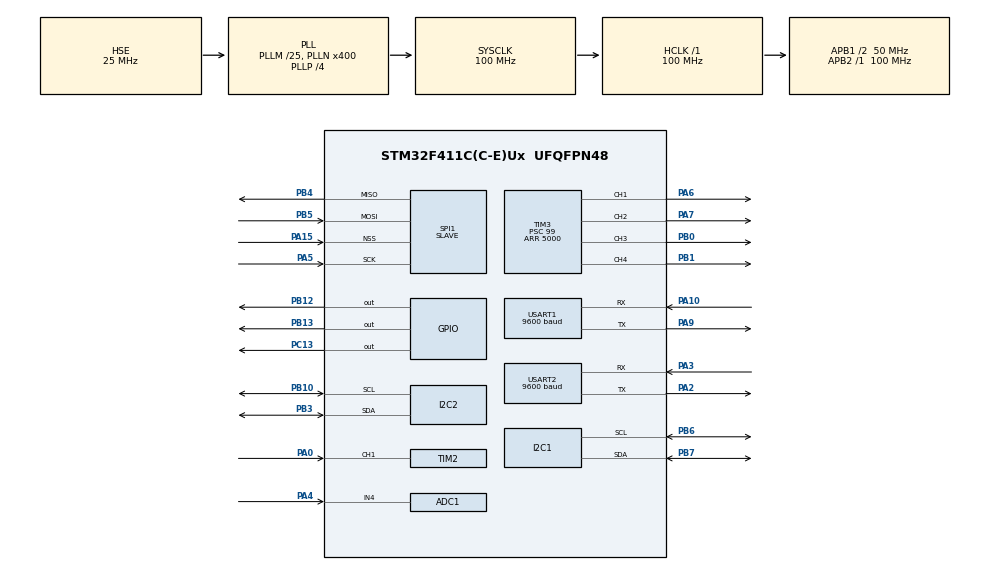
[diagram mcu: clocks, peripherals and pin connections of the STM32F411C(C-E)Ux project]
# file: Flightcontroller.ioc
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ADC1.Channel-0\#ChannelRegularConversion=ADC_CHANNEL_4
ADC1.NbrOfConversionFlag=1
ADC1.Rank-0\#ChannelRegularConversion=1
ADC1.SamplingTime-0\#ChannelRegularConversion=ADC_SAMPLETIME_3CYCLES
ADC1.master=1
Dma.Request0=USART2_RX
Dma.Request1=USART1_TX
Dma.Request2=SPI1_RX
Dma.Request3=SPI1_TX
Dma.SPI1_RX.2.Direction=DMA_PERIPH_TO_MEMORY
Dma.SPI1_RX.2.FIFOMode=DMA_FIFOMODE_DISABLE
Dma.SPI1_RX.2.Instance=DMA2_Stream0
Dma.SPI1_RX.2.MemDataAlignment=DMA_MDATAALIGN_BYTE
Dma.SPI1_RX.2.MemInc=DMA_MINC_ENABLE
Dma.SPI1_RX.2.Mode=DMA_CIRCULAR
Dma.SPI1_RX.2.PeriphDataAlignment=DMA_PDATAALIGN_BYTE
Dma.SPI1_RX.2.PeriphInc=DMA_PINC_DISABLE
Dma.SPI1_RX.2.Priority=DMA_PRIORITY_LOW
Dma.SPI1_TX.3.Direction=DMA_MEMORY_TO_PERIPH
Dma.SPI1_TX.3.FIFOMode=DMA_FIFOMODE_DISABLE
Dma.SPI1_TX.3.Instance=DMA2_Stream2
Dma.SPI1_TX.3.MemDataAlignment=DMA_MDATAALIGN_BYTE
Dma.SPI1_TX.3.MemInc=DMA_MINC_ENABLE
Dma.SPI1_TX.3.Mode=DMA_CIRCULAR
Dma.SPI1_TX.3.PeriphDataAlignment=DMA_PDATAALIGN_BYTE
Dma.SPI1_TX.3.PeriphInc=DMA_PINC_DISABLE
Dma.SPI1_TX.3.Priority=DMA_PRIORITY_LOW
Dma.USART1_TX.1.Direction=DMA_MEMORY_TO_PERIPH
Dma.USART1_TX.1.FIFOMode=DMA_FIFOMODE_DISABLE
Dma.USART1_TX.1.Instance=DMA2_Stream7
Dma.USART1_TX.1.MemDataAlignment=DMA_MDATAALIGN_BYTE
Dma.USART1_TX.1.MemInc=DMA_MINC_ENABLE
Dma.USART1_TX.1.Mode=DMA_CIRCULAR
Dma.USART1_TX.1.PeriphDataAlignment=DMA_PDATAALIGN_BYTE
Dma.USART1_TX.1.PeriphInc=DMA_PINC_DISABLE
Dma.USART1_TX.1.Priority=DMA_PRIORITY_LOW
Dma.USART2_RX.0.Direction=DMA_PERIPH_TO_MEMORY
Dma.USART2_RX.0.FIFOMode=DMA_FIFOMODE_DISABLE
Dma.USART2_RX.0.Instance=DMA1_Stream5
Dma.USART2_RX.0.MemDataAlignment=DMA_MDATAALIGN_BYTE
Dma.USART2_RX.0.MemInc=DMA_MINC_ENABLE
Dma.USART2_RX.0.Mode=DMA_CIRCULAR
Dma.USART2_RX.0.PeriphDataAlignment=DMA_PDATAALIGN_BYTE
Dma.USART2_RX.0.PeriphInc=DMA_PINC_DISABLE
Dma.USART2_RX.0.Priority=DMA_PRIORITY_LOW
I2C2.I2C_Mode=I2C_Fast
Mcu.Family=STM32F4
Mcu.Name=STM32F411C(C-E)Ux
Mcu.Package=UFQFPN48
NVIC.ADC_IRQn=true\:3\:0\:true\:false\:true\:true\:true
NVIC.DMA1_Stream5_IRQn=true\:2\:0\:true\:false\:true\:false\:true
NVIC.DMA2_Stream0_IRQn=true\:2\:0\:true\:false\:true\:false\:true
NVIC.DMA2_Stream2_IRQn=true\:2\:0\:true\:false\:true\:false\:true
NVIC.DMA2_Stream7_IRQn=true\:2\:0\:true\:false\:true\:false\:true
NVIC.I2C2_EV_IRQn=true\:0\:0\:false\:false\:true\:true\:true
NVIC.PriorityGroup=NVIC_PRIORITYGROUP_4
NVIC.TIM2_IRQn=true\:2\:0\:true\:false\:true\:true\:true
NVIC.USART1_IRQn=true\:2\:0\:true\:false\:true\:true\:true
PA0-WKUP.Signal=S_TIM2_CH1_ETR
PA10.Mode=Asynchronous
PA10.Signal=USART1_RX
PA13.Mode=Serial_Wire
PA13.Signal=SYS_JTMS-SWDIO
PA14.Mode=Serial_Wire
PA14.Signal=SYS_JTCK-SWCLK
PA15.Mode=NSS_Signal_Hard_Input
PA15.Signal=SPI1_NSS
PA2.Mode=Asynchronous
PA2.Signal=USART2_TX
PA3.Mode=Asynchronous
PA3.Signal=USART2_RX
PA4.Signal=ADCx_IN4
PA5.Mode=Full_Duplex_Slave
PA5.Signal=SPI1_SCK
PA6.Signal=S_TIM3_CH1
PA7.Signal=S_TIM3_CH2
PA9.Mode=Asynchronous
PA9.Signal=USART1_TX
PB0.Signal=S_TIM3_CH3
PB1.Signal=S_TIM3_CH4
PB10.Mode=I2C
PB10.Signal=I2C2_SCL
PB12.Signal=GPIO_Output
PB13.Signal=GPIO_Output
PB3.Mode=I2C
PB3.Signal=I2C2_SDA
PB4.Mode=Full_Duplex_Slave
PB4.Signal=SPI1_MISO
PB5.Mode=Full_Duplex_Slave
PB5.Signal=SPI1_MOSI
PB6.Mode=I2C
PB6.Signal=I2C1_SCL
PB7.Mode=I2C
PB7.Signal=I2C1_SDA
PC13-ANTI_TAMP.Signal=GPIO_Output
PH0\ -\ OSC_IN.Mode=HSE-External-Oscillator
PH0\ -\ OSC_IN.Signal=RCC_OSC_IN
PH1\ -\ OSC_OUT.Mode=HSE-External-Oscillator
PH1\ -\ OSC_OUT.Signal=RCC_OSC_OUT
ProjectManager.HeapSize=0x200
ProjectManager.StackSize=0x400
ProjectManager.TargetToolchain=Other Toolchains (GPDSC)
RCC.48MHZClocksFreq_Value=100000000
RCC.AHBFreq_Value=100000000
RCC.APB1CLKDivider=RCC_HCLK_DIV2
RCC.APB1Freq_Value=50000000
RCC.APB1TimFreq_Value=100000000
RCC.APB2Freq_Value=100000000
RCC.APB2TimFreq_Value=100000000
RCC.CortexFreq_Value=100000000
RCC.HCLKFreq_Value=100000000
RCC.HSE_VALUE=25000000
RCC.HSI_VALUE=16000000
RCC.LSE_VALUE=32768
RCC.PLLM=25
RCC.PLLN=400
RCC.PLLP=RCC_PLLP_DIV4
RCC.PLLSourceVirtual=RCC_PLLSOURCE_HSE
RCC.SYSCLKFreq_VALUE=100000000
RCC.SYSCLKSource=RCC_SYSCLKSOURCE_PLLCLK
RCC.VCOOutputFreq_Value=400000000
SH.ADCx_IN4.0=ADC1_IN4,IN4
SH.S_TIM2_CH1_ETR.0=TIM2_CH1,Input_Capture1_from_TI1
SH.S_TIM3_CH1.0=TIM3_CH1,PWM Generation1 CH1
SH.S_TIM3_CH2.0=TIM3_CH2,PWM Generation2 CH2
SH.S_TIM3_CH3.0=TIM3_CH3,PWM Generation3 CH3
SH.S_TIM3_CH4.0=TIM3_CH4,PWM Generation4 CH4
SPI1.Direction=SPI_DIRECTION_2LINES
SPI1.Mode=SPI_MODE_SLAVE
SPI1.VirtualNSS=VM_NSSHARD
SPI1.VirtualType=VM_SLAVE
TIM2.Channel-Input_Capture1_from_TI1=TIM_CHANNEL_1
TIM2.ClockDivision=TIM_CLOCKDIVISION_DIV1
TIM2.ICPrescaler-Input_Capture1_from_TI1=TIM_ICPSC_DIV1
TIM2.Period=0xFFFFFFFF
TIM2.Prescaler=99
TIM3.Channel-PWM\ Generation1\ CH1=TIM_CHANNEL_1
TIM3.Channel-PWM\ Generation2\ CH2=TIM_CHANNEL_2
TIM3.Channel-PWM\ Generation3\ CH3=TIM_CHANNEL_3
TIM3.Channel-PWM\ Generation4\ CH4=TIM_CHANNEL_4
TIM3.Period=5000
TIM3.Prescaler=99
TIM3.Pulse-PWM\ Generation1\ CH1=1000
USART1.BaudRate=9600
USART1.VirtualMode=VM_ASYNC
USART2.BaudRate=9600
USART2.VirtualMode=VM_ASYNC
VP_TIM2_VS_ClockSourceINT.Mode=Internal
board=custom

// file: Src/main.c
/* USER CODE BEGIN Header */
/**
  ******************************************************************************
  * @file           : main.c
  * @brief          : Main program body
  ******************************************************************************
  * @attention
  *
  * <h2><center>&copy; Copyright (c) 2020 STMicroelectronics.
  * All rights reserved.</center></h2>
  *
  * This software component is licensed by ST under BSD 3-Clause license,
  * the "License"; You may not use this file except in compliance with the
  * License. You may obtain a copy of the License at:
  *                        opensource.org/licenses/BSD-3-Clause
  *
  ******************************************************************************
  */
/* USER CODE END Header */

#include "main.h"

/* USER CODE BEGIN Includes */
#include "imu.h"
#include "baro.h"
#include "statemachine.h"
#include "receiver.h"
#include "motors.h"
#include "send_info.h"
#include "adc.h"
#include "gps.h"
#include "spi_pi.h"
/* USER CODE END Includes */

ADC_HandleTypeDef hadc1;

I2C_HandleTypeDef hi2c1;
I2C_HandleTypeDef hi2c2;

SPI_HandleTypeDef hspi1;
DMA_HandleTypeDef hdma_spi1_rx;
DMA_HandleTypeDef hdma_spi1_tx;

TIM_HandleTypeDef htim2;
TIM_HandleTypeDef htim3;

UART_HandleTypeDef huart1;
UART_HandleTypeDef huart2;
DMA_HandleTypeDef hdma_usart1_tx;
DMA_HandleTypeDef hdma_usart2_rx;

void SystemClock_Config(void);
static void MX_GPIO_Init(void);
static void MX_I2C2_Init(void);
static void MX_TIM2_Init(void);
static void MX_TIM3_Init(void);
static void MX_USART1_UART_Init(void);
static void MX_I2C1_Init(void);
static void MX_ADC1_Init(void);
static void MX_DMA_Init(void);
static void MX_USART2_UART_Init(void);
static void MX_SPI1_Init(void);
/* USER CODE BEGIN PFP */
void SystemClockHSI_Config(void);
/* USER CODE END PFP */

int main(void)
{

  /* MCU Configuration--------------------------------------------------------*/

  /* Reset of all peripherals, Initializes the Flash interface and the Systick. */
  HAL_Init();

  /* USER CODE BEGIN Init */
	//Configuring 16Mhz HSI to System clock. Allows changing of PLL in SytemClock_Config();
	SystemClockHSI_Config();
  /* USER CODE END Init */

  /* Configure the system clock */
  SystemClock_Config();

  /* Initialize all configured peripherals */
  MX_GPIO_Init();
  MX_I2C2_Init();
  MX_TIM2_Init();
  MX_TIM3_Init();
  //MX_USART1_UART_Init();
  MX_I2C1_Init();
  MX_ADC1_Init();
  MX_DMA_Init();
  MX_USART2_UART_Init();
  MX_SPI1_Init();
  /* USER CODE BEGIN 2 */
	MX_USART1_UART_Init(); //USART1 must be initialized after DMA. Therefore calling it again
	//Initializing Clock for Profiling and Timekeeping
	CoreDebug->DEMCR |= CoreDebug_DEMCR_TRCENA_Msk;
	DWT->CYCCNT = 0;
	DWT->CTRL |= DWT_CTRL_CYCCNTENA_Msk;

	/*__HAL_RCC_I2C2_FORCE_RESET();
	HAL_Delay(1000);
	__HAL_RCC_I2C2_RELEASE_RESET();
	MX_I2C2_Init();*/
	set_state(INIT);
	init_state();
	init_info(&huart1);
	init_gps(&huart2);

	init_receiver(&htim2);
	init_gyro(&hi2c2);
	init_baro(&hi2c2);
	init_spi(&hspi1);
	init_motors(&htim3);
	init_adc(&hadc1);

	/*calibrate_gyro();
	calibrate_level();*/
	set_state(STOP);

  /* USER CODE END 2 */

  /* Infinite loop */
  while (1)
  {

    /* USER CODE BEGIN 3 */
	  DWT->CYCCNT = 0;  //100 Cycles => 1ms => 400.000 Cycles total (100 * 4000) 4ms
	  change_state();
	  signal_state();
	  send_info(&huart1);
	  poll_adc_value(&hadc1);

	  read_gyro();
	  read_baro();
	  //read_gps(&huart2);
	  calculate_pid();

	  set_motors(channel[2]);
	  //Delay
	  looptime = DWT->CYCCNT / 100;
	 if(DWT->CYCCNT >= 100 * 3900)
		  set_error(LOOPTIME_EXCEED);
	 while (DWT->CYCCNT <= 100 * 4000) ;  //100 000 000Hz wait for next cycle -> every cycle 4ms b
  }
  /* USER CODE END 3 */
}

void SystemClock_Config(void)
{
  RCC_OscInitTypeDef RCC_OscInitStruct = {0};
  RCC_ClkInitTypeDef RCC_ClkInitStruct = {0};

  /** Configure the main internal regulator output voltage
  */
  __HAL_RCC_PWR_CLK_ENABLE();
  __HAL_PWR_VOLTAGESCALING_CONFIG(PWR_REGULATOR_VOLTAGE_SCALE1);
  /** Initializes the CPU, AHB and APB busses clocks
  */
  RCC_OscInitStruct.OscillatorType = RCC_OSCILLATORTYPE_HSE;
  RCC_OscInitStruct.HSEState = RCC_HSE_ON;
  RCC_OscInitStruct.PLL.PLLState = RCC_PLL_ON;
  RCC_OscInitStruct.PLL.PLLSource = RCC_PLLSOURCE_HSE;
  RCC_OscInitStruct.PLL.PLLM = 25;
  RCC_OscInitStruct.PLL.PLLN = 400;
  RCC_OscInitStruct.PLL.PLLP = RCC_PLLP_DIV4;
  RCC_OscInitStruct.PLL.PLLQ = 4;
  if (HAL_RCC_OscConfig(&RCC_OscInitStruct) != HAL_OK)
  {
    Error_Handler();
  }
  /** Initializes the CPU, AHB and APB busses clocks
  */
  RCC_ClkInitStruct.ClockType = RCC_CLOCKTYPE_HCLK|RCC_CLOCKTYPE_SYSCLK
                              |RCC_CLOCKTYPE_PCLK1|RCC_CLOCKTYPE_PCLK2;
  RCC_ClkInitStruct.SYSCLKSource = RCC_SYSCLKSOURCE_PLLCLK;
  RCC_ClkInitStruct.AHBCLKDivider = RCC_SYSCLK_DIV1;
  RCC_ClkInitStruct.APB1CLKDivider = RCC_HCLK_DIV2;
  RCC_ClkInitStruct.APB2CLKDivider = RCC_HCLK_DIV1;

  if (HAL_RCC_ClockConfig(&RCC_ClkInitStruct, FLASH_LATENCY_3) != HAL_OK)
  {
    Error_Handler();
  }
}

static void MX_ADC1_Init(void)
{

  ADC_ChannelConfTypeDef sConfig = {0};

  /** Configure the global features of the ADC (Clock, Resolution, Data Alignment and number of conversion)
  */
  hadc1.Instance = ADC1;
  hadc1.Init.ClockPrescaler = ADC_CLOCK_SYNC_PCLK_DIV4;
  hadc1.Init.Resolution = ADC_RESOLUTION_12B;
  hadc1.Init.ScanConvMode = DISABLE;
  hadc1.Init.ContinuousConvMode = DISABLE;
  hadc1.Init.DiscontinuousConvMode = DISABLE;
  hadc1.Init.ExternalTrigConvEdge = ADC_EXTERNALTRIGCONVEDGE_NONE;
  hadc1.Init.ExternalTrigConv = ADC_SOFTWARE_START;
  hadc1.Init.DataAlign = ADC_DATAALIGN_RIGHT;
  hadc1.Init.NbrOfConversion = 1;
  hadc1.Init.DMAContinuousRequests = DISABLE;
  hadc1.Init.EOCSelection = ADC_EOC_SINGLE_CONV;
  if (HAL_ADC_Init(&hadc1) != HAL_OK)
  {
    Error_Handler();
  }
  /** Configure for the selected ADC regular channel its corresponding rank in the sequencer and its sample time.
  */
  sConfig.Channel = ADC_CHANNEL_4;
  sConfig.Rank = 1;
  sConfig.SamplingTime = ADC_SAMPLETIME_3CYCLES;
  if (HAL_ADC_ConfigChannel(&hadc1, &sConfig) != HAL_OK)
  {
    Error_Handler();
  }

}

static void MX_I2C1_Init(void)
{

  hi2c1.Instance = I2C1;
  hi2c1.Init.ClockSpeed = 100000;
  hi2c1.Init.DutyCycle = I2C_DUTYCYCLE_2;
  hi2c1.Init.OwnAddress1 = 0;
  hi2c1.Init.AddressingMode = I2C_ADDRESSINGMODE_7BIT;
  hi2c1.Init.DualAddressMode = I2C_DUALADDRESS_DISABLE;
  hi2c1.Init.OwnAddress2 = 0;
  hi2c1.Init.GeneralCallMode = I2C_GENERALCALL_DISABLE;
  hi2c1.Init.NoStretchMode = I2C_NOSTRETCH_DISABLE;
  if (HAL_I2C_Init(&hi2c1) != HAL_OK)
  {
    Error_Handler();
  }

}

static void MX_I2C2_Init(void)
{

  hi2c2.Instance = I2C2;
  hi2c2.Init.ClockSpeed = 400000;
  hi2c2.Init.DutyCycle = I2C_DUTYCYCLE_2;
  hi2c2.Init.OwnAddress1 = 0;
  hi2c2.Init.AddressingMode = I2C_ADDRESSINGMODE_7BIT;
  hi2c2.Init.DualAddressMode = I2C_DUALADDRESS_DISABLE;
  hi2c2.Init.OwnAddress2 = 0;
  hi2c2.Init.GeneralCallMode = I2C_GENERALCALL_DISABLE;
  hi2c2.Init.NoStretchMode = I2C_NOSTRETCH_DISABLE;
  if (HAL_I2C_Init(&hi2c2) != HAL_OK)
  {
    Error_Handler();
  }

}

static void MX_SPI1_Init(void)
{

  /* SPI1 parameter configuration*/
  hspi1.Instance = SPI1;
  hspi1.Init.Mode = SPI_MODE_SLAVE;
  hspi1.Init.Direction = SPI_DIRECTION_2LINES;
  hspi1.Init.DataSize = SPI_DATASIZE_8BIT;
  hspi1.Init.CLKPolarity = SPI_POLARITY_LOW;
  hspi1.Init.CLKPhase = SPI_PHASE_1EDGE;
  hspi1.Init.NSS = SPI_NSS_HARD_INPUT;
  hspi1.Init.FirstBit = SPI_FIRSTBIT_MSB;
  hspi1.Init.TIMode = SPI_TIMODE_DISABLE;
  hspi1.Init.CRCCalculation = SPI_CRCCALCULATION_DISABLE;
  hspi1.Init.CRCPolynomial = 10;
  if (HAL_SPI_Init(&hspi1) != HAL_OK)
  {
    Error_Handler();
  }

}

static void MX_TIM2_Init(void)
{

  TIM_ClockConfigTypeDef sClockSourceConfig = {0};
  TIM_MasterConfigTypeDef sMasterConfig = {0};
  TIM_IC_InitTypeDef sConfigIC = {0};

  htim2.Instance = TIM2;
  htim2.Init.Prescaler = 99;
  htim2.Init.CounterMode = TIM_COUNTERMODE_UP;
  htim2.Init.Period = 0xFFFFFFFF;
  htim2.Init.ClockDivision = TIM_CLOCKDIVISION_DIV1;
  htim2.Init.AutoReloadPreload = TIM_AUTORELOAD_PRELOAD_DISABLE;
  if (HAL_TIM_Base_Init(&htim2) != HAL_OK)
  {
    Error_Handler();
  }
  sClockSourceConfig.ClockSource = TIM_CLOCKSOURCE_INTERNAL;
  if (HAL_TIM_ConfigClockSource(&htim2, &sClockSourceConfig) != HAL_OK)
  {
    Error_Handler();
  }
  if (HAL_TIM_IC_Init(&htim2) != HAL_OK)
  {
    Error_Handler();
  }
  sMasterConfig.MasterOutputTrigger = TIM_TRGO_RESET;
  sMasterConfig.MasterSlaveMode = TIM_MASTERSLAVEMODE_DISABLE;
  if (HAL_TIMEx_MasterConfigSynchronization(&htim2, &sMasterConfig) != HAL_OK)
  {
    Error_Handler();
  }
  sConfigIC.ICPolarity = TIM_INPUTCHANNELPOLARITY_RISING;
  sConfigIC.ICSelection = TIM_ICSELECTION_DIRECTTI;
  sConfigIC.ICPrescaler = TIM_ICPSC_DIV1;
  sConfigIC.ICFilter = 0;
  if (HAL_TIM_IC_ConfigChannel(&htim2, &sConfigIC, TIM_CHANNEL_1) != HAL_OK)
  {
    Error_Handler();
  }

}

static void MX_TIM3_Init(void)
{

  TIM_MasterConfigTypeDef sMasterConfig = {0};
  TIM_OC_InitTypeDef sConfigOC = {0};

  htim3.Instance = TIM3;
  htim3.Init.Prescaler = 99;
  htim3.Init.CounterMode = TIM_COUNTERMODE_UP;
  htim3.Init.Period = 5000;
  htim3.Init.ClockDivision = TIM_CLOCKDIVISION_DIV1;
  htim3.Init.AutoReloadPreload = TIM_AUTORELOAD_PRELOAD_DISABLE;
  if (HAL_TIM_PWM_Init(&htim3) != HAL_OK)
  {
    Error_Handler();
  }
  sMasterConfig.MasterOutputTrigger = TIM_TRGO_RESET;
  sMasterConfig.MasterSlaveMode = TIM_MASTERSLAVEMODE_DISABLE;
  if (HAL_TIMEx_MasterConfigSynchronization(&htim3, &sMasterConfig) != HAL_OK)
  {
    Error_Handler();
  }
  sConfigOC.OCMode = TIM_OCMODE_PWM1;
  sConfigOC.Pulse = 1000;
  sConfigOC.OCPolarity = TIM_OCPOLARITY_HIGH;
  sConfigOC.OCFastMode = TIM_OCFAST_DISABLE;
  if (HAL_TIM_PWM_ConfigChannel(&htim3, &sConfigOC, TIM_CHANNEL_1) != HAL_OK)
  {
    Error_Handler();
  }
  sConfigOC.Pulse = 0;
  if (HAL_TIM_PWM_ConfigChannel(&htim3, &sConfigOC, TIM_CHANNEL_2) != HAL_OK)
  {
    Error_Handler();
  }
  if (HAL_TIM_PWM_ConfigChannel(&htim3, &sConfigOC, TIM_CHANNEL_3) != HAL_OK)
  {
    Error_Handler();
  }
  if (HAL_TIM_PWM_ConfigChannel(&htim3, &sConfigOC, TIM_CHANNEL_4) != HAL_OK)
  {
    Error_Handler();
  }
  HAL_TIM_MspPostInit(&htim3);

}

static void MX_USART1_UART_Init(void)
{

  huart1.Instance = USART1;
  huart1.Init.BaudRate = 9600;
  huart1.Init.WordLength = UART_WORDLENGTH_8B;
  huart1.Init.StopBits = UART_STOPBITS_1;
  huart1.Init.Parity = UART_PARITY_NONE;
  huart1.Init.Mode = UART_MODE_TX_RX;
  huart1.Init.HwFlowCtl = UART_HWCONTROL_NONE;
  huart1.Init.OverSampling = UART_OVERSAMPLING_16;
  if (HAL_UART_Init(&huart1) != HAL_OK)
  {
    Error_Handler();
  }

}

static void MX_USART2_UART_Init(void)
{

  huart2.Instance = USART2;
  huart2.Init.BaudRate = 9600;
  huart2.Init.WordLength = UART_WORDLENGTH_8B;
  huart2.Init.StopBits = UART_STOPBITS_1;
  huart2.Init.Parity = UART_PARITY_NONE;
  huart2.Init.Mode = UART_MODE_TX_RX;
  huart2.Init.HwFlowCtl = UART_HWCONTROL_NONE;
  huart2.Init.OverSampling = UART_OVERSAMPLING_16;
  if (HAL_UART_Init(&huart2) != HAL_OK)
  {
    Error_Handler();
  }

}

static void MX_DMA_Init(void)
{

  /* DMA controller clock enable */
  __HAL_RCC_DMA1_CLK_ENABLE();
  __HAL_RCC_DMA2_CLK_ENABLE();

  /* DMA interrupt init */
  /* DMA1_Stream5_IRQn interrupt configuration */
  HAL_NVIC_SetPriority(DMA1_Stream5_IRQn, 2, 0);
  HAL_NVIC_EnableIRQ(DMA1_Stream5_IRQn);
  /* DMA2_Stream0_IRQn interrupt configuration */
  HAL_NVIC_SetPriority(DMA2_Stream0_IRQn, 2, 0);
  HAL_NVIC_EnableIRQ(DMA2_Stream0_IRQn);
  /* DMA2_Stream2_IRQn interrupt configuration */
  HAL_NVIC_SetPriority(DMA2_Stream2_IRQn, 2, 0);
  HAL_NVIC_EnableIRQ(DMA2_Stream2_IRQn);
  /* DMA2_Stream7_IRQn interrupt configuration */
  HAL_NVIC_SetPriority(DMA2_Stream7_IRQn, 2, 0);
  HAL_NVIC_EnableIRQ(DMA2_Stream7_IRQn);

}

static void MX_GPIO_Init(void)
{
  GPIO_InitTypeDef GPIO_InitStruct = {0};

  /* GPIO Ports Clock Enable */
  __HAL_RCC_GPIOC_CLK_ENABLE();
  __HAL_RCC_GPIOH_CLK_ENABLE();
  __HAL_RCC_GPIOA_CLK_ENABLE();
  __HAL_RCC_GPIOB_CLK_ENABLE();

  /*Configure GPIO pin Output Level */
  HAL_GPIO_WritePin(GPIOC, GPIO_PIN_13, GPIO_PIN_RESET);

  /*Configure GPIO pin Output Level */
  HAL_GPIO_WritePin(GPIOB, GPIO_PIN_12|GPIO_PIN_13, GPIO_PIN_RESET);

  /*Configure GPIO pin : PC13 */
  GPIO_InitStruct.Pin = GPIO_PIN_13;
  GPIO_InitStruct.Mode = GPIO_MODE_OUTPUT_PP;
  GPIO_InitStruct.Pull = GPIO_NOPULL;
  GPIO_InitStruct.Speed = GPIO_SPEED_FREQ_LOW;
  HAL_GPIO_Init(GPIOC, &GPIO_InitStruct);

  /*Configure GPIO pins : PB12 PB13 */
  GPIO_InitStruct.Pin = GPIO_PIN_12|GPIO_PIN_13;
  GPIO_InitStruct.Mode = GPIO_MODE_OUTPUT_PP;
  GPIO_InitStruct.Pull = GPIO_NOPULL;
  GPIO_InitStruct.Speed = GPIO_SPEED_FREQ_LOW;
  HAL_GPIO_Init(GPIOB, &GPIO_InitStruct);

}

/* USER CODE BEGIN 4 */
void SystemClockHSI_Config(void)
{
	RCC_OscInitTypeDef RCC_OscInitStruct = { 0 };
	RCC_ClkInitTypeDef RCC_ClkInitStruct = { 0 };

	/** Configure the main internal regulator output voltage
	*/
	__HAL_RCC_PWR_CLK_ENABLE();
	__HAL_PWR_VOLTAGESCALING_CONFIG(PWR_REGULATOR_VOLTAGE_SCALE1);
	/** Initializes the CPU, AHB and APB busses clocks
	*/
	RCC_OscInitStruct.OscillatorType = RCC_OSCILLATORTYPE_HSI;
	RCC_OscInitStruct.HSIState = RCC_HSI_ON;
	RCC_OscInitStruct.HSICalibrationValue = RCC_HSICALIBRATION_DEFAULT;
	RCC_OscInitStruct.PLL.PLLState = RCC_PLL_NONE;
	if (HAL_RCC_OscConfig(&RCC_OscInitStruct) != HAL_OK)
	{
		Error_Handler();
	}
	/** Initializes the CPU, AHB and APB busses clocks
	*/
	RCC_ClkInitStruct.ClockType = RCC_CLOCKTYPE_HCLK | RCC_CLOCKTYPE_SYSCLK
	                            | RCC_CLOCKTYPE_PCLK1 | RCC_CLOCKTYPE_PCLK2;
	RCC_ClkInitStruct.SYSCLKSource = RCC_SYSCLKSOURCE_HSI;
	RCC_ClkInitStruct.AHBCLKDivider = RCC_SYSCLK_DIV1;
	RCC_ClkInitStruct.APB1CLKDivider = RCC_HCLK_DIV2;
	RCC_ClkInitStruct.APB2CLKDivider = RCC_HCLK_DIV1;

	if (HAL_RCC_ClockConfig(&RCC_ClkInitStruct, FLASH_LATENCY_0) != HAL_OK)
	{
		Error_Handler();
	}
}

/* USER CODE END 4 */

void Error_Handler(void)
{
}

/************************ (C) COPYRIGHT STMicroelectronics *****END OF FILE****/
